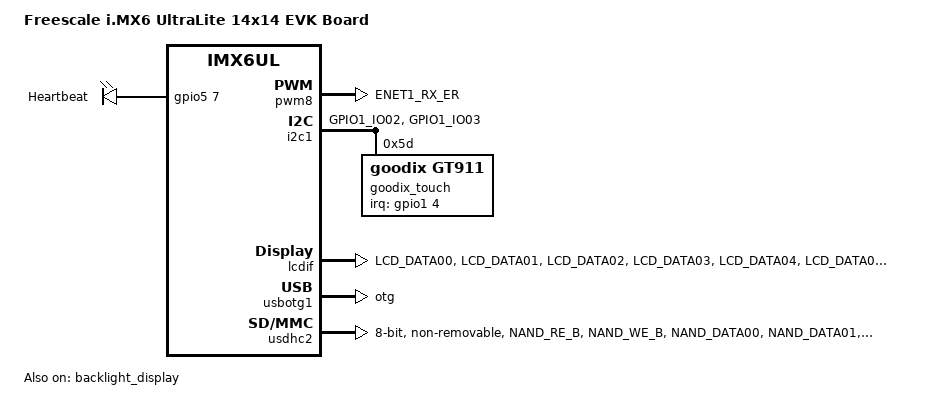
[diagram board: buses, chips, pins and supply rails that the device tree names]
// SPDX-License-Identifier: GPL-2.0
//
// Copyright (C) 2015 Freescale Semiconductor, Inc.

/dts-v1/;

#include "imx6ul.dtsi"
#include "imx6ul-14x14-evk.dtsi"

/ {
	model = "Freescale i.MX6 UltraLite 14x14 EVK Board";
	compatible = "fsl,imx6ul-14x14-evk", "fsl,imx6ul";

	leds {
		compatible = "gpio-leds";

		heartbeat-led {
			label = "Heartbeat";
			gpios = <&gpio5 7 0>;
			linux,default-trigger = "heartbeat";
		};
	};
};

&{/sound-wm8960} {
	status = "disabled";	
};
	
&{/spi4} {
	status = "disabled";
};
	
&backlight_display {
	pwms = <&pwm8 0 40000>;
	brightness-levels = <0 2 4 6 8 12 16 20 26 32 42 52 64 84 104 128 160 200 255>;
	default-brightness-level = <15>;
	status = "okay";
};

&pwm8 {
	#pwm-cells = <2>;
	pinctrl-names = "default";
	pinctrl-0 = <&pinctrl_pwm8>;
	status = "okay";
};

&reg_sd1_vmmc {
	status = "disabled";
};

&reg_peri_3v3 {
	status = "disabled";
};

&reg_can_3v3 {
	status = "disabled";
};

&i2c2 {
	status = "disabled";
};

&fec1 {
	status = "disabled";
};

&fec2 {
	status = "disabled";
};

&can1 {
	status = "disabled";
};

&can2 {
	status = "disabled";
};

&i2c1 {
	clock_frequency = <100000>;
	pinctrl-names = "default";
	pinctrl-0 = <&pinctrl_i2c1>;
	status = "okay";

	goodix_touch: goodix_touch@5d {
		compatible = "goodix,gt911";
		reg = <0x5d>;
		pinctrl-names = "default";
		pinctrl-0 = <&pinctrl_gt911>;
        interrupt-parent = <&gpio1>;
        interrupts = <4 2>;
		irq-gpios = <&gpio1 4 0>;
/*		reset-gpios = <&gpio1 1 0>;		*/
	};
};

&lcdif {
	pinctrl-names = "default";
	pinctrl-0 = <&pinctrl_lcdif_dat
		     &pinctrl_lcdif_ctrl>;
	status = "okay";
};


&timing0  {
	clock-frequency = <33000000>;
	hactive = <800>;
	vactive = <480>;
	hfront-porch = <121>;
	hback-porch = <88>;
	hsync-len = <48>;
	vback-porch = <39>;
	vfront-porch = <21>;
	vsync-len = <3>;

	hsync-active = <0>;
	vsync-active = <0>;
	de-active = <1>;
	pixelclk-active = <0>;
};       /*7.0*/
			
&pwm1 {
	status = "disabled";
};

&qspi {
	status = "disabled";
};

&sai2 {
	status = "disabled";
};

&tsc {
	status = "disabled";
};

&uart2 {
	status = "disabled";
};

&usbotg1 {
	dr_mode = "otg";
	srp-disable;
	hnp-disable;
	adp-disable;
	status = "okay";
};

&usdhc1 {
	status = "disabled";
};	

&usdhc2 {
	pinctrl-names = "default";
	pinctrl-0 = <&pinctrl_usdhc2_8bit_200mhz>;
	bus-width = <8>;
	non-removable;
	status = "okay";
};

&iomuxc {
	pinctrl-names = "default";
	pinctrl-0 = <&pinctrl_hog_1>;
		pinctrl_hog_1: hoggrp-1 {
			fsl,pins = <
				MX6UL_PAD_SNVS_TAMPER2__GPIO5_IO02      0x80000000
				MX6UL_PAD_SNVS_TAMPER7__GPIO5_IO07      0x79 /* LED1 */
				MX6UL_PAD_GPIO1_IO05__GPIO1_IO05	0x7008
				MX6UL_PAD_GPIO1_IO06__GPIO1_IO06	0x7008
				MX6UL_PAD_GPIO1_IO07__GPIO1_IO07	0x7008
				MX6UL_PAD_GPIO1_IO08__GPIO1_IO08	0x3008
				MX6UL_PAD_GPIO1_IO09__GPIO1_IO09	0x3008
				MX6UL_PAD_JTAG_MOD__GPIO1_IO10	0x3008
				MX6UL_PAD_JTAG_TMS__GPIO1_IO11	0x3008
				MX6UL_PAD_JTAG_TDO__GPIO1_IO12	0x3008
				MX6UL_PAD_JTAG_TDI__GPIO1_IO13	0x3008
				MX6UL_PAD_JTAG_TCK__GPIO1_IO14	0x3008
				MX6UL_PAD_JTAG_TRST_B__GPIO1_IO15	0x3008
				MX6UL_PAD_UART1_CTS_B__GPIO1_IO18	0x3008
				MX6UL_PAD_UART1_RTS_B__GPIO1_IO19	0x7008
				MX6UL_PAD_UART2_CTS_B__GPIO1_IO22	0x3008
				MX6UL_PAD_UART2_RTS_B__GPIO1_IO23	0x3008
				MX6UL_PAD_ENET1_RX_DATA0__GPIO2_IO00	0x3008
				MX6UL_PAD_ENET1_RX_DATA1__GPIO2_IO01	0x3008
				MX6UL_PAD_ENET1_TX_DATA0__GPIO2_IO03	0x3008
				MX6UL_PAD_ENET1_TX_DATA1__GPIO2_IO04	0x3008
				MX6UL_PAD_ENET1_TX_EN__GPIO2_IO05		0x3008
				MX6UL_PAD_ENET1_TX_CLK__GPIO2_IO06	0x3008
				MX6UL_PAD_ENET2_RX_DATA0__GPIO2_IO08	0x3008
				MX6UL_PAD_ENET2_RX_DATA1__GPIO2_IO09	0x3008
				MX6UL_PAD_ENET2_RX_EN__GPIO2_IO10	0x3008
				MX6UL_PAD_ENET2_TX_DATA0__GPIO2_IO11	0x3008
				MX6UL_PAD_ENET2_TX_DATA1__GPIO2_IO12	0x3008
				MX6UL_PAD_ENET2_TX_EN__GPIO2_IO13		0x3008
				MX6UL_PAD_ENET2_TX_CLK__GPIO2_IO14	0x3008
				MX6UL_PAD_ENET2_RX_ER__GPIO2_IO15		0x3008
				MX6UL_PAD_NAND_WP_B__GPIO4_IO11     0x3008
				MX6UL_PAD_NAND_READY_B__GPIO4_IO12 0x3008
				MX6UL_PAD_NAND_CE0_B__GPIO4_IO13   0x3008
				MX6UL_PAD_NAND_CE1_B__GPIO4_IO14   0x3008
				MX6UL_PAD_NAND_CLE__GPIO4_IO15     0x3008
				MX6UL_PAD_NAND_DQS__GPIO4_IO16     0x3008
			>;
		};

		pinctrl_i2c1: i2c1grp {
			fsl,pins = <
				MX6UL_PAD_GPIO1_IO02__I2C1_SCL	0x4001b8b0
				MX6UL_PAD_GPIO1_IO03__I2C1_SDA	0x4001b8b0
			>;
		};
		
		pinctrl_lcdif_dat: lcdifdatgrp {
			fsl,pins = <
				MX6UL_PAD_LCD_DATA00__LCDIF_DATA00  0x10
				MX6UL_PAD_LCD_DATA01__LCDIF_DATA01  0x10
				MX6UL_PAD_LCD_DATA02__LCDIF_DATA02  0x10
				MX6UL_PAD_LCD_DATA03__LCDIF_DATA03  0x10
				MX6UL_PAD_LCD_DATA04__LCDIF_DATA04  0x10
				MX6UL_PAD_LCD_DATA05__LCDIF_DATA05  0x10
				MX6UL_PAD_LCD_DATA06__LCDIF_DATA06  0x10
				MX6UL_PAD_LCD_DATA07__LCDIF_DATA07  0x10
				MX6UL_PAD_LCD_DATA08__LCDIF_DATA08  0x10
				MX6UL_PAD_LCD_DATA09__LCDIF_DATA09  0x10
				MX6UL_PAD_LCD_DATA10__LCDIF_DATA10  0x10
				MX6UL_PAD_LCD_DATA11__LCDIF_DATA11  0x10
				MX6UL_PAD_LCD_DATA12__LCDIF_DATA12  0x10
				MX6UL_PAD_LCD_DATA13__LCDIF_DATA13  0x10
				MX6UL_PAD_LCD_DATA14__LCDIF_DATA14  0x10
				MX6UL_PAD_LCD_DATA15__LCDIF_DATA15  0x10
				MX6UL_PAD_LCD_DATA16__LCDIF_DATA16  0x10
				MX6UL_PAD_LCD_DATA17__LCDIF_DATA17  0x10
				MX6UL_PAD_LCD_DATA18__LCDIF_DATA18  0x10
				MX6UL_PAD_LCD_DATA19__LCDIF_DATA19  0x10
				MX6UL_PAD_LCD_DATA20__LCDIF_DATA20  0x10
				MX6UL_PAD_LCD_DATA21__LCDIF_DATA21  0x10
				MX6UL_PAD_LCD_DATA22__LCDIF_DATA22  0x10
				MX6UL_PAD_LCD_DATA23__LCDIF_DATA23  0x10
			>;
		};

		pinctrl_lcdif_ctrl: lcdifctrlgrp {
			fsl,pins = <
				MX6UL_PAD_LCD_CLK__LCDIF_CLK	    0x21
				MX6UL_PAD_LCD_ENABLE__LCDIF_ENABLE  0x21
				MX6UL_PAD_LCD_HSYNC__LCDIF_HSYNC    0x21
				MX6UL_PAD_LCD_VSYNC__LCDIF_VSYNC    0x21
			>;
		};

		pinctrl_pwm8: pwm8grp {
			fsl,pins = <
				MX6UL_PAD_ENET1_RX_ER__PWM8_OUT   0x11008
			>;
		};

		pinctrl_gt911: gt911grp {
			fsl,pins = <
				MX6UL_PAD_GPIO1_IO01__GPIO1_IO01	0xf0b0
				MX6UL_PAD_GPIO1_IO04__GPIO1_IO04	0xb0
			>;
		};
									
		pinctrl_usdhc2: usdhc2grp {
			fsl,pins = <
				MX6UL_PAD_NAND_RE_B__USDHC2_CLK     0x10069
				MX6UL_PAD_NAND_WE_B__USDHC2_CMD     0x17059
				MX6UL_PAD_NAND_DATA00__USDHC2_DATA0 0x17059
				MX6UL_PAD_NAND_DATA01__USDHC2_DATA1 0x17059
				MX6UL_PAD_NAND_DATA02__USDHC2_DATA2 0x17059
				MX6UL_PAD_NAND_DATA03__USDHC2_DATA3 0x17059
			>;
		};

		pinctrl_usdhc2_8bit: usdhc2grp_8bit {
			fsl,pins = <
				MX6UL_PAD_NAND_RE_B__USDHC2_CLK     0x10069
				MX6UL_PAD_NAND_WE_B__USDHC2_CMD     0x17059
				MX6UL_PAD_NAND_DATA00__USDHC2_DATA0 0x17059
				MX6UL_PAD_NAND_DATA01__USDHC2_DATA1 0x17059
				MX6UL_PAD_NAND_DATA02__USDHC2_DATA2 0x17059
				MX6UL_PAD_NAND_DATA03__USDHC2_DATA3 0x17059
				MX6UL_PAD_NAND_DATA04__USDHC2_DATA4 0x17059
				MX6UL_PAD_NAND_DATA05__USDHC2_DATA5 0x17059
				MX6UL_PAD_NAND_DATA06__USDHC2_DATA6 0x17059
				MX6UL_PAD_NAND_DATA07__USDHC2_DATA7 0x17059
			>;
		};

		pinctrl_usdhc2_8bit_100mhz: usdhc2grp_8bit_100mhz {
			fsl,pins = <
				MX6UL_PAD_NAND_RE_B__USDHC2_CLK     0x100b9
				MX6UL_PAD_NAND_WE_B__USDHC2_CMD     0x170b9
				MX6UL_PAD_NAND_DATA00__USDHC2_DATA0 0x170b9
				MX6UL_PAD_NAND_DATA01__USDHC2_DATA1 0x170b9
				MX6UL_PAD_NAND_DATA02__USDHC2_DATA2 0x170b9
				MX6UL_PAD_NAND_DATA03__USDHC2_DATA3 0x170b9
				MX6UL_PAD_NAND_DATA04__USDHC2_DATA4 0x170b9
				MX6UL_PAD_NAND_DATA05__USDHC2_DATA5 0x170b9
				MX6UL_PAD_NAND_DATA06__USDHC2_DATA6 0x170b9
				MX6UL_PAD_NAND_DATA07__USDHC2_DATA7 0x170b9
			>;
		};

		pinctrl_usdhc2_8bit_200mhz: usdhc2grp_8bit_200mhz {
			fsl,pins = <
				MX6UL_PAD_NAND_RE_B__USDHC2_CLK     0x100f9
				MX6UL_PAD_NAND_WE_B__USDHC2_CMD     0x170f9
				MX6UL_PAD_NAND_DATA00__USDHC2_DATA0 0x170f9
				MX6UL_PAD_NAND_DATA01__USDHC2_DATA1 0x170f9
				MX6UL_PAD_NAND_DATA02__USDHC2_DATA2 0x170f9
				MX6UL_PAD_NAND_DATA03__USDHC2_DATA3 0x170f9
				MX6UL_PAD_NAND_DATA04__USDHC2_DATA4 0x170f9
				MX6UL_PAD_NAND_DATA05__USDHC2_DATA5 0x170f9
				MX6UL_PAD_NAND_DATA06__USDHC2_DATA6 0x170f9
				MX6UL_PAD_NAND_DATA07__USDHC2_DATA7 0x170f9
			>;
		};
};
